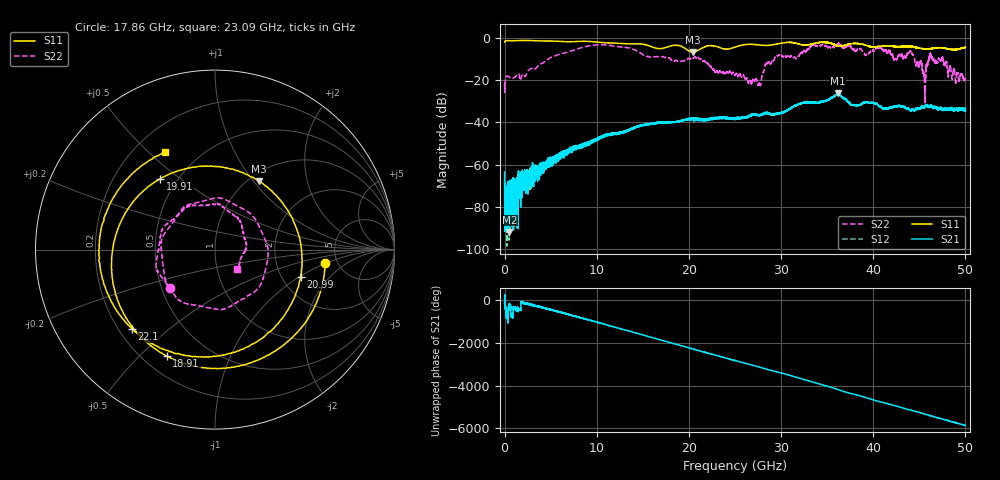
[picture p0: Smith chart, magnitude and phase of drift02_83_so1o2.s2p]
!Created with skrf (http://scikit-rf.org).
# Hz S RI R 50.0
!freq ReS11 ImS11 ReS21 ImS21 ReS12 ImS12 ReS22 ImS22
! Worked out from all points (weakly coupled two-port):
!   10001 points, 300 kHz to 50 GHz, reference 50 ohm
!   highest |S21| = -26.17 dB at 36.13 GHz (marker M1); lowest = -91.8 dB at 515.3 MHz (marker M2)
!   lowest |S11| = -6.9 dB at 20.42 GHz (marker M3), VSWR 2.64, Z = 55.4 + j52.9 ohm
!   |S11| at or under -10 dB: nowhere
!   |S22| runs from -30.8 to -2.4 dB; largest |S21 - S12| = 0.0056
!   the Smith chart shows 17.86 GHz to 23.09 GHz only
!   S11 on the Smith chart (normalised r, x): 17.86 GHz: 3.98, -0.99; 18.91 GHz: 0.29, -0.61; 19.91 GHz: 0.40, +0.43; 20.99 GHz: 2.52, -1.04; 22.1 GHz: 0.25, -0.38; 23.09 GHz: 0.33, +0.56
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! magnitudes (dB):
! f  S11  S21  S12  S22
! 300 kHz  -2.0  -63.6  -66.8  -21.7
! 515.3 MHz  -1.4  -91.8  -72.7  -18.7
! 8.335 GHz  -1.7  -50.5  -50.8  -4.7
! 16.67 GHz  -5.2  -40.3  -40.4  -9.0
! 17.86 GHz  -4.2  -40.2  -40.0  -9.6
! 18.91 GHz  -3.7  -39.6  -39.5  -10.8
! 19.91 GHz  -6.0  -38.6  -38.6  -9.9
! 20.42 GHz  -6.9  -38.3  -37.9  -9.7
! 20.99 GHz  -6.0  -38.9  -38.4  -9.3
! 22.1 GHz  -3.9  -38.9  -38.6  -12.6
! 23.09 GHz  -4.3  -37.9  -38.2  -15.7
! 25 GHz  -4.5  -38.0  -38.2  -17.7
! 27.63 GHz  -3.5  -36.8  -36.7  -21.3
! 28.43 GHz  -3.7  -35.5  -35.5  -12.2
! 29.54 GHz  -3.0  -35.9  -35.9  -8.8
! 33.34 GHz  -3.0  -30.7  -30.5  -3.8
! 36.13 GHz  -3.9  -26.2  -26.9  -3.1
! 41.67 GHz  -3.9  -33.3  -33.4  -6.0
! 44.15 GHz  -4.2  -34.2  -34.4  -7.2
! 45.5 GHz  -5.3  -32.8  -33.0  -17.4
! 46.28 GHz  -5.2  -32.1  -32.4  -8.5
! 50 GHz  -4.6  -34.6  -34.4  -19.8
